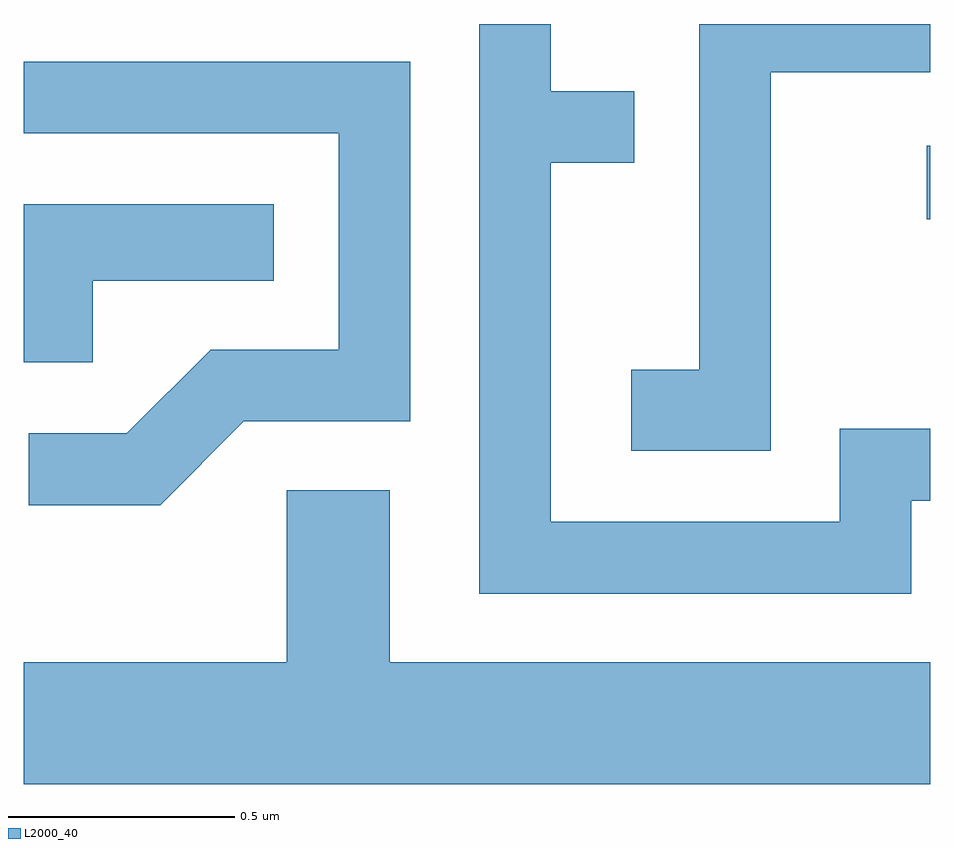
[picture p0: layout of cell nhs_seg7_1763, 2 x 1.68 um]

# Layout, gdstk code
import gdstk
lib = gdstk.Library(unit=1e-6, precision=1e-09)
def R(c, l, rs):  # rectangles x0, y0, x1, y1
    for r in rs: c.add(gdstk.rectangle(r[:2], r[2:], *l))
def P(c, l, *ps):  # polygons
    for p in ps: c.add(gdstk.Polygon(p, *l))
L2000_40 = (2000, 40)

nhs_seg7_1763 = lib.new_cell('nhs_seg7_1763')
R(nhs_seg7_1763, L2000_40, [(199.603,1788.821,199.611,1788.984)])
P(nhs_seg7_1763, L2000_40, [(199.259,1789.146),(199.611,1789.146),(199.611,1789.252),(199.101,1789.252),(199.101,1788.489),(198.951,1788.489),(198.951,1788.311),(199.259,1788.311)],
  [(199.569,1788.201),(199.611,1788.201),(199.611,1788.359),(199.411,1788.359),(199.411,1788.154),(198.774,1788.154),(198.774,1788.946),(198.958,1788.946),(198.958,1789.104),(198.774,1789.104),(198.774,1789.252),(198.616,1789.252),(198.616,1787.996),(199.569,1787.996)],
  [(198.097,1788.376),(198.464,1788.376),(198.464,1789.169),(197.611,1789.169),(197.611,1789.011),(198.306,1789.011),(198.306,1788.534),(198.024,1788.534),(197.839,1788.349),(197.623,1788.349),(197.623,1788.191),(197.912,1788.191)],
  [(197.764,1788.686),(198.163,1788.686),(198.163,1788.854),(197.611,1788.854),(197.611,1788.506),(197.764,1788.506)],
  [(199.611,1787.844),(198.419,1787.844),(198.419,1788.224),(198.191,1788.224),(198.191,1787.844),(197.611,1787.844),(197.611,1787.576),(199.611,1787.576)])

lib.write_gds('nhs_seg7_1763.gds')
